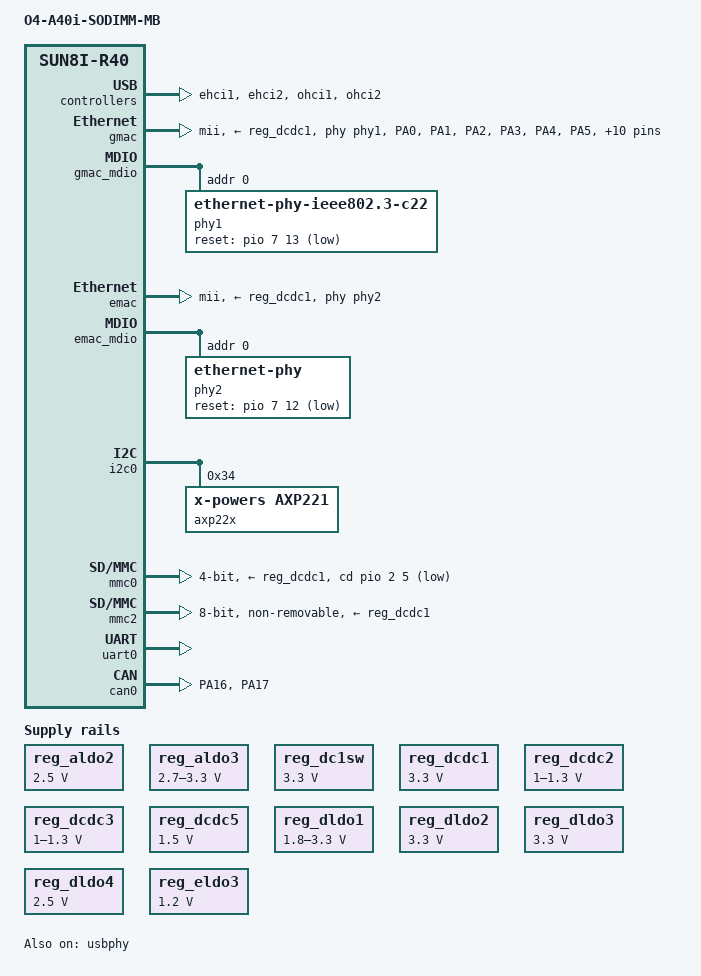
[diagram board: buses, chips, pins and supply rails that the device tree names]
/dts-v1/;
#include "sun8i-r40.dtsi"

#include <dt-bindings/gpio/gpio.h>

/ {
	model = "O4-A40i-SODIMM-MB";
	compatible = "sinovoip,bpi-m2-ultra", "allwinner,sun8i-r40";

	aliases {
		ethernet0 = &gmac;
		ethernet1 = &emac;
		serial0 = &uart0;
	};

	chosen {
		stdout-path = "serial0:115200n8";
	};

	// connector {
	// 	compatible = "hdmi-connector";
	// 	type = "a";

	// 	port {
	// 		hdmi_con_in: endpoint {
	// 			remote-endpoint = <&hdmi_out_con>;
	// 		};
	// 	};
	// };

	leds {
		compatible = "gpio-leds";

		// user-led-green {
		// 	label = "bananapi:green:user";
		// 	gpios = <&pio 7 1 GPIO_ACTIVE_HIGH>;
		// };

		// user-led-blue {
		// 	label = "bananapi:blue:user";
		// 	gpios = <&pio 7 17 GPIO_ACTIVE_HIGH>;
		// };
	};

};


&cpu0 {
	cpu-supply = <&reg_dcdc2>;
};

&ahci {
	status = "disabled";
};

// &de {
// 	status = "okay";
// };

&ehci1 {
	status = "okay";
};

&ehci2 {
	status = "okay";
};

// &ehci0 {
// 	status = "okay";
// };


// &ohci0 {
// 	status = "okay";
// };

&ohci1 {
	status = "okay";
};

&ohci2 {
	status = "okay";
};

&gmac {
	pinctrl-names = "default";
	pinctrl-0 = <&gmac_mii_pins_reduced>;
	phy-handle = <&phy1>;
	phy-mode = "mii";
	phy-supply = <&reg_dcdc1>;
	status = "okay";
};


&gmac_mdio {
	phy1: ethernet-phy@0 {
		compatible = "ethernet-phy-ieee802.3-c22";
		reg = <0>;
		reset-gpios = <&pio 7 13 GPIO_ACTIVE_LOW>; /* PH13 */
		reset-assert-us = <10000>;
		reset-deassert-us = <100000>;
        icplus,select-rx-error;
        status = "okay";
	};
};

&emac {
	pinctrl-names = "default";
	phy-handle = <&phy2>;
	phy-mode = "mii";
	phy-supply = <&reg_dcdc1>;
    pinctrl-0 = <&emac_ph_pins>;

	status = "okay";
};

&emac_mdio {
	status = "okay";
	phy2: ethernet-phy@0 {
		reg = <0>;
        icplus,select-rx-error;
		reset-gpios = <&pio 7 12 GPIO_ACTIVE_LOW>; /* PH12 */
		reset-assert-us = <10000>;
		reset-deassert-us = <100000>;
	};
};



&hdmi {
	status = "disabled";
};

// &hdmi_out {
// 	hdmi_out_con: endpoint {
// 		remote-endpoint = <&hdmi_con_in>;
// 	};
// };

&i2c0 {
	status = "okay";

	axp22x: pmic@34 {
		compatible = "x-powers,axp221";
		reg = <0x34>;
		interrupt-parent = <&nmi_intc>;
		interrupts = <0 IRQ_TYPE_LEVEL_LOW>;
	};
};

#include "axp22x.dtsi"

&ir0 {
	status = "disabled";
};

&mmc0 {
	vmmc-supply = <&reg_dcdc1>;
	bus-width = <4>;
	cd-gpios = <&pio 2 5 GPIO_ACTIVE_LOW>; /* pc5 */
	status = "okay";
};

// &mmc1 {
// 	pinctrl-names = "default";
// 	pinctrl-0 = <&mmc1_pg_pins>;
// 	vmmc-supply = <&reg_dldo2>;
// 	vqmmc-supply = <&reg_dldo1>;
// 	mmc-pwrseq = <&wifi_pwrseq>;
// 	bus-width = <4>;
// 	non-removable;
// 	status = "okay";
// };

&mmc2 {
	vmmc-supply = <&reg_dcdc1>;
	vqmmc-supply = <&reg_dcdc1>;
	bus-width = <8>;
	non-removable;
	status = "okay";
};

&pio {
	pinctrl-names = "default";
	pinctrl-0 = <&clk_out_a_pin>;
	vcc-pa-supply = <&reg_dcdc1>;
	vcc-pc-supply = <&reg_dcdc1>;
	vcc-pd-supply = <&reg_dcdc1>;
	vcc-pe-supply = <&reg_eldo1>;
	vcc-pf-supply = <&reg_dcdc1>;
	vcc-pg-supply = <&reg_dldo1>;

    /* w/o ECOL and ETXERR */
    gmac_mii_pins_reduced: gmac-mii-pins-reduced {
        pins = "PA0", "PA1", "PA2", "PA3",
                "PA4", "PA5", "PA6", "PA7",
                "PA8", "PA9", "PA10", "PA11", "PA12",
                "PA13", "PA14", "PA15";
	drive-strength = <40>;

        function = "gmac";
    };

    can0_pins_pa: can0-pins-pa {
        pins = "PA16", "PA17";
        function = "can";
    };

};

&reg_aldo2 {
	regulator-min-microvolt = <2500000>;
	regulator-max-microvolt = <2500000>;
	regulator-name = "vcc-pa";
};

&reg_aldo3 {
	regulator-always-on;
	regulator-min-microvolt = <2700000>;
	regulator-max-microvolt = <3300000>;
	regulator-name = "avcc";
};

&reg_dc1sw {
	regulator-min-microvolt = <3300000>;
	regulator-max-microvolt = <3300000>;
	regulator-name = "vcc-gmac-phy";
};

&reg_dcdc1 {
	regulator-always-on;
	regulator-min-microvolt = <3300000>;
	regulator-max-microvolt = <3300000>;
	regulator-name = "vcc-3v3";
};

&reg_dcdc2 {
	regulator-always-on;
	regulator-min-microvolt = <1000000>;
	regulator-max-microvolt = <1300000>;
	regulator-name = "vdd-cpu";
};

&reg_dcdc3 {
	regulator-always-on;
	regulator-min-microvolt = <1000000>;
	regulator-max-microvolt = <1300000>;
	regulator-name = "vdd-sys";
};

&reg_dcdc5 {
	regulator-always-on;
	regulator-min-microvolt = <1500000>;
	regulator-max-microvolt = <1500000>;
	regulator-name = "vcc-dram";
};

&reg_dldo1 {
	regulator-min-microvolt = <1800000>;
	regulator-max-microvolt = <3300000>;
	regulator-name = "vcc-wifi-io";
};

/*
 * Our WiFi chip needs both DLDO2 and DLDO3 to be powered at the same
 * time, with the two being in sync, to be able to meet maximum power
 * consumption during transmits. Since this is not really supported
 * right now, just use the two as always on, and we will fix it later.
 */

&reg_dldo2 {
	regulator-always-on;
	regulator-min-microvolt = <3300000>;
	regulator-max-microvolt = <3300000>;
	regulator-name = "vcc-wifi";
};

&reg_dldo3 {
	regulator-always-on;
	regulator-min-microvolt = <3300000>;
	regulator-max-microvolt = <3300000>;
	regulator-name = "vcc-wifi-2";
};

&reg_dldo4 {
	regulator-min-microvolt = <2500000>;
	regulator-max-microvolt = <2500000>;
	regulator-name = "vdd2v5-sata";
};

&reg_eldo3 {
	regulator-min-microvolt = <1200000>;
	regulator-max-microvolt = <1200000>;
	regulator-name = "vdd1v2-sata";
};

&tcon_tv0 {
	status = "disabled";
};

&uart0 {
	pinctrl-names = "default";
	pinctrl-0 = <&uart0_pb_pins>;
	status = "okay";
};

// &uart3 {
// 	pinctrl-names = "default";
// 	pinctrl-0 = <&uart3_pg_pins>, <&uart3_rts_cts_pg_pins>;
// 	uart-has-rtscts;
// 	status = "okay";

// 	bluetooth {
// 		compatible = "brcm,bcm43438-bt";
// 		clocks = <&ccu CLK_OUTA>;
// 		clock-names = "lpo";
// 		vbat-supply = <&reg_dldo2>;
// 		vddio-supply = <&reg_dldo1>;
// 		device-wakeup-gpios = <&pio 6 11 GPIO_ACTIVE_HIGH>; /* PG11 */
// 		/* TODO host wake line connected to PMIC GPIO pins */
// 		shutdown-gpios = <&pio 7 12 GPIO_ACTIVE_HIGH>; /* PH12 */
// 		max-speed = <1500000>;
// 	};
// };

&usbphy {
	usb1_vbus-supply = <&reg_dcdc1>;
	usb2_vbus-supply = <&reg_dcdc1>;
	status = "okay";

	// usb0_id_det-gpios = <&pio 7 10 (GPIO_ACTIVE_HIGH | GPIO_PULL_UP)>; /* PH10 */

};

&can0 {
	status = "okay";
	pinctrl-names = "default";
	pinctrl-0 = <&can0_pins_pa>;
};

// &usb_otg{
// 	status = "okay";
// };

&rtp {
    status = "disabled";
};

&battery_power_supply {
    status = "okay";
};

&ac_power_supply {
    status = "okay";
};

&usb_power_supply {
    status = "okay";
};

